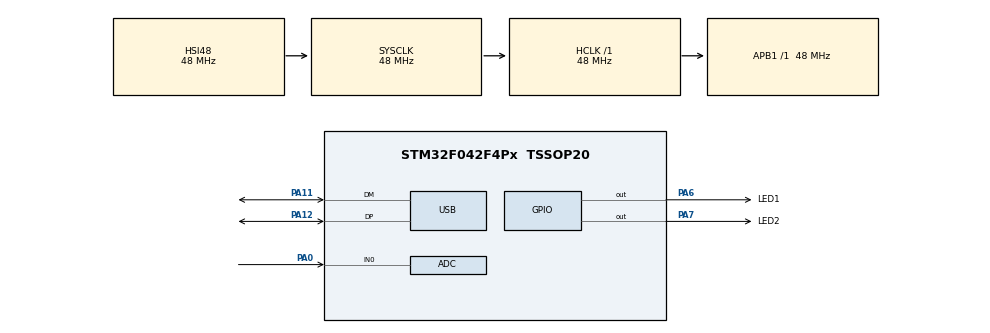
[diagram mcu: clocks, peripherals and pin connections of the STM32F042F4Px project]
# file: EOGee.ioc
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ADC.ExternalTrigConv=ADC_SOFTWARE_START
ADC.SamplingTime=ADC_SAMPLETIME_1CYCLE_5
Mcu.Family=STM32F0
Mcu.Name=STM32F042F4Px
Mcu.Package=TSSOP20
NVIC.ADC1_IRQn=true\:0\:0\:false\:false\:true\:true\:true
NVIC.TIM1_BRK_UP_TRG_COM_IRQn=true\:0\:0\:false\:false\:true\:true\:true
NVIC.TIM1_CC_IRQn=true\:0\:0\:false\:false\:true\:true\:true
NVIC.USB_IRQn=true\:0\:0\:false\:false\:true\:false\:true
PA0.Mode=IN0
PA0.Signal=ADC_IN0
PA11.Mode=Device
PA11.Signal=USB_DM
PA12.Mode=Device
PA12.Signal=USB_DP
PA6.GPIO_Label=LED1
PA6.Signal=GPIO_Output
PA7.GPIO_Label=LED2
PA7.Signal=GPIO_Output
ProjectManager.HeapSize=0x150
ProjectManager.StackSize=0x300
ProjectManager.TargetToolchain=STM32CubeIDE
RCC.AHBFreq_Value=48000000
RCC.APB1Freq_Value=48000000
RCC.APB1TimFreq_Value=48000000
RCC.HCLKFreq_Value=48000000
RCC.SYSCLKFreq_VALUE=48000000
RCC.SYSCLKSource=RCC_SYSCLKSOURCE_HSI48
TIM1.Channel-Output\ Compare1\ No\ Output=TIM_CHANNEL_1
TIM1.ClockDivision=TIM_CLOCKDIVISION_DIV1
TIM1.Period=65535
TIM1.Prescaler=0
TIM1.TIM_MasterOutputTrigger=TIM_TRGO_OC1
USB_DEVICE.CLASS_NAME_FS=CDC
USB_DEVICE.VirtualMode=Cdc
USB_DEVICE.VirtualModeFS=Cdc_FS
VP_SYS_VS_PINREMAP.Mode=PINREMAP
VP_TIM1_VS_ClockSourceINT.Mode=Internal
VP_TIM1_VS_no_output1.Mode=Output Compare1 No Output
VP_USB_DEVICE_VS_USB_DEVICE_CDC_FS.Mode=CDC_FS
board=custom

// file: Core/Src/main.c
/* USER CODE BEGIN Header */
/**
  ******************************************************************************
  * @file           : main.c
  * @brief          : Main program body
  ******************************************************************************
  * @attention
  *
  * <h2><center>&copy; Copyright (c) 2020 STMicroelectronics.
  * All rights reserved.</center></h2>
  *
  * This software component is licensed by ST under BSD 3-Clause license,
  * the "License"; You may not use this file except in compliance with the
  * License. You may obtain a copy of the License at:
  *                        opensource.org/licenses/BSD-3-Clause
  *
  ******************************************************************************
  */
/* USER CODE END Header */

#include "main.h"
#include "usb_device.h"

/* USER CODE BEGIN Includes */
#include "usbd_cdc_if.h"
#include "stm32f0xx_hal_adc.h"
/* USER CODE END Includes */

ADC_HandleTypeDef hadc;

TIM_HandleTypeDef htim1;

/* USER CODE BEGIN PV */
#define BUFFER_LEN 10
uint16_t buffer[BUFFER_LEN];
volatile uint8_t buffer_pointer;
/* USER CODE END PV */

void SystemClock_Config(void);
static void MX_GPIO_Init(void);
static void MX_ADC_Init(void);
static void MX_TIM1_Init(void);

int main(void)
{

  /* MCU Configuration--------------------------------------------------------*/

  /* Reset of all peripherals, Initializes the Flash interface and the Systick. */
  HAL_Init();

  /* Configure the system clock */
  SystemClock_Config();

  /* Initialize all configured peripherals */
  MX_GPIO_Init();
  MX_USB_DEVICE_Init();
  MX_ADC_Init();
  MX_TIM1_Init();
  /* USER CODE BEGIN 2 */
  HAL_Delay(3000);
  CDC_Transmit_FS((uint8_t*)"Hello\n\r", 7);

  HAL_GPIO_WritePin(GPIOA, LED1_Pin, GPIO_PIN_SET);
  HAL_GPIO_WritePin(GPIOA, LED2_Pin, GPIO_PIN_RESET);
  /* USER CODE END 2 */

  /* Infinite loop */
  /* USER CODE BEGIN WHILE */
  //start timer
  buffer_pointer = 0;
  HAL_TIM_OC_Start_IT(&htim1,TIM_CHANNEL_1);
  uint8_t i = 0;
  while (1)
  {
    /* USER CODE END WHILE */

    /* USER CODE BEGIN 3 */
	  i += 1;
	  if(buffer_pointer == BUFFER_LEN)
	  {
		  HAL_GPIO_TogglePin(GPIOA, LED1_Pin);
		  CDC_Transmit_FS((void*)buffer, 2*BUFFER_LEN);
		  buffer_pointer = 0;
	  }
  }
  /* USER CODE END 3 */
}

void SystemClock_Config(void)
{
  RCC_OscInitTypeDef RCC_OscInitStruct = {0};
  RCC_ClkInitTypeDef RCC_ClkInitStruct = {0};
  RCC_PeriphCLKInitTypeDef PeriphClkInit = {0};

  /** Initializes the CPU, AHB and APB busses clocks
  */
  RCC_OscInitStruct.OscillatorType = RCC_OSCILLATORTYPE_HSI14|RCC_OSCILLATORTYPE_HSI48;
  RCC_OscInitStruct.HSI48State = RCC_HSI48_ON;
  RCC_OscInitStruct.HSI14State = RCC_HSI14_ON;
  RCC_OscInitStruct.HSI14CalibrationValue = 16;
  RCC_OscInitStruct.PLL.PLLState = RCC_PLL_NONE;
  if (HAL_RCC_OscConfig(&RCC_OscInitStruct) != HAL_OK)
  {
    Error_Handler();
  }
  /** Initializes the CPU, AHB and APB busses clocks
  */
  RCC_ClkInitStruct.ClockType = RCC_CLOCKTYPE_HCLK|RCC_CLOCKTYPE_SYSCLK
                              |RCC_CLOCKTYPE_PCLK1;
  RCC_ClkInitStruct.SYSCLKSource = RCC_SYSCLKSOURCE_HSI48;
  RCC_ClkInitStruct.AHBCLKDivider = RCC_SYSCLK_DIV1;
  RCC_ClkInitStruct.APB1CLKDivider = RCC_HCLK_DIV1;

  if (HAL_RCC_ClockConfig(&RCC_ClkInitStruct, FLASH_LATENCY_1) != HAL_OK)
  {
    Error_Handler();
  }
  PeriphClkInit.PeriphClockSelection = RCC_PERIPHCLK_USB;
  PeriphClkInit.UsbClockSelection = RCC_USBCLKSOURCE_HSI48;

  if (HAL_RCCEx_PeriphCLKConfig(&PeriphClkInit) != HAL_OK)
  {
    Error_Handler();
  }
}

static void MX_ADC_Init(void)
{

  ADC_ChannelConfTypeDef sConfig = {0};

  /** Configure the global features of the ADC (Clock, Resolution, Data Alignment and number of conversion)
  */
  hadc.Instance = ADC1;
  hadc.Init.ClockPrescaler = ADC_CLOCK_ASYNC_DIV1;
  hadc.Init.Resolution = ADC_RESOLUTION_12B;
  hadc.Init.DataAlign = ADC_DATAALIGN_RIGHT;
  hadc.Init.ScanConvMode = ADC_SCAN_DIRECTION_FORWARD;
  hadc.Init.EOCSelection = ADC_EOC_SINGLE_CONV;
  hadc.Init.LowPowerAutoWait = DISABLE;
  hadc.Init.LowPowerAutoPowerOff = DISABLE;
  hadc.Init.ContinuousConvMode = DISABLE;
  hadc.Init.DiscontinuousConvMode = DISABLE;
  hadc.Init.ExternalTrigConv = ADC_SOFTWARE_START;
  hadc.Init.ExternalTrigConvEdge = ADC_EXTERNALTRIGCONVEDGE_NONE;
  hadc.Init.DMAContinuousRequests = DISABLE;
  hadc.Init.Overrun = ADC_OVR_DATA_PRESERVED;
  if (HAL_ADC_Init(&hadc) != HAL_OK)
  {
    Error_Handler();
  }
  /** Configure for the selected ADC regular channel to be converted.
  */
  sConfig.Channel = ADC_CHANNEL_0;
  sConfig.Rank = ADC_RANK_CHANNEL_NUMBER;
  sConfig.SamplingTime = ADC_SAMPLETIME_1CYCLE_5;
  if (HAL_ADC_ConfigChannel(&hadc, &sConfig) != HAL_OK)
  {
    Error_Handler();
  }

}

static void MX_TIM1_Init(void)
{

  TIM_ClockConfigTypeDef sClockSourceConfig = {0};
  TIM_MasterConfigTypeDef sMasterConfig = {0};
  TIM_OC_InitTypeDef sConfigOC = {0};
  TIM_BreakDeadTimeConfigTypeDef sBreakDeadTimeConfig = {0};

  htim1.Instance = TIM1;
  htim1.Init.Prescaler = 0;
  htim1.Init.CounterMode = TIM_COUNTERMODE_UP;
  htim1.Init.Period = 65535;
  htim1.Init.ClockDivision = TIM_CLOCKDIVISION_DIV1;
  htim1.Init.RepetitionCounter = 0;
  htim1.Init.AutoReloadPreload = TIM_AUTORELOAD_PRELOAD_DISABLE;
  if (HAL_TIM_Base_Init(&htim1) != HAL_OK)
  {
    Error_Handler();
  }
  sClockSourceConfig.ClockSource = TIM_CLOCKSOURCE_INTERNAL;
  if (HAL_TIM_ConfigClockSource(&htim1, &sClockSourceConfig) != HAL_OK)
  {
    Error_Handler();
  }
  if (HAL_TIM_OC_Init(&htim1) != HAL_OK)
  {
    Error_Handler();
  }
  sMasterConfig.MasterOutputTrigger = TIM_TRGO_OC1;
  sMasterConfig.MasterSlaveMode = TIM_MASTERSLAVEMODE_DISABLE;
  if (HAL_TIMEx_MasterConfigSynchronization(&htim1, &sMasterConfig) != HAL_OK)
  {
    Error_Handler();
  }
  sConfigOC.OCMode = TIM_OCMODE_TIMING;
  sConfigOC.Pulse = 0;
  sConfigOC.OCPolarity = TIM_OCPOLARITY_HIGH;
  sConfigOC.OCNPolarity = TIM_OCNPOLARITY_HIGH;
  sConfigOC.OCFastMode = TIM_OCFAST_DISABLE;
  sConfigOC.OCIdleState = TIM_OCIDLESTATE_RESET;
  sConfigOC.OCNIdleState = TIM_OCNIDLESTATE_RESET;
  if (HAL_TIM_OC_ConfigChannel(&htim1, &sConfigOC, TIM_CHANNEL_1) != HAL_OK)
  {
    Error_Handler();
  }
  sBreakDeadTimeConfig.OffStateRunMode = TIM_OSSR_DISABLE;
  sBreakDeadTimeConfig.OffStateIDLEMode = TIM_OSSI_DISABLE;
  sBreakDeadTimeConfig.LockLevel = TIM_LOCKLEVEL_OFF;
  sBreakDeadTimeConfig.DeadTime = 0;
  sBreakDeadTimeConfig.BreakState = TIM_BREAK_DISABLE;
  sBreakDeadTimeConfig.BreakPolarity = TIM_BREAKPOLARITY_HIGH;
  sBreakDeadTimeConfig.AutomaticOutput = TIM_AUTOMATICOUTPUT_DISABLE;
  if (HAL_TIMEx_ConfigBreakDeadTime(&htim1, &sBreakDeadTimeConfig) != HAL_OK)
  {
    Error_Handler();
  }

}

static void MX_GPIO_Init(void)
{
  GPIO_InitTypeDef GPIO_InitStruct = {0};

  /* GPIO Ports Clock Enable */
  __HAL_RCC_GPIOA_CLK_ENABLE();

  /*Configure GPIO pin Output Level */
  HAL_GPIO_WritePin(GPIOA, LED1_Pin|LED2_Pin, GPIO_PIN_RESET);

  /*Configure GPIO pins : LED1_Pin LED2_Pin */
  GPIO_InitStruct.Pin = LED1_Pin|LED2_Pin;
  GPIO_InitStruct.Mode = GPIO_MODE_OUTPUT_PP;
  GPIO_InitStruct.Pull = GPIO_NOPULL;
  GPIO_InitStruct.Speed = GPIO_SPEED_FREQ_LOW;
  HAL_GPIO_Init(GPIOA, &GPIO_InitStruct);

}

/* USER CODE BEGIN 4 */
/**
  * @brief  Conversion complete callback in non blocking mode
  * @param  hadc ADC handle
  * @retval None
  */
void HAL_ADC_ConvCpltCallback(ADC_HandleTypeDef* hadc)
{
	HAL_ADC_Stop_IT(hadc);

	uint32_t sample = HAL_ADC_GetValue(hadc);
	if(buffer_pointer < BUFFER_LEN)
	{
		buffer[buffer_pointer] = (uint16_t) sample;
		buffer_pointer++;
	}
	else
	{
		HAL_GPIO_WritePin(GPIOA, LED2_Pin, GPIO_PIN_SET);
	}
}

/**
  * @brief  Output Compare callback in non-blocking mode
  * @param  htim TIM OC handle
  * @retval None
  */
void HAL_TIM_OC_DelayElapsedCallback(TIM_HandleTypeDef *htim)
{
	HAL_ADC_Start_IT(&hadc);
}

/* USER CODE END 4 */

void Error_Handler(void)
{
}

/************************ (C) COPYRIGHT STMicroelectronics *****END OF FILE****/
